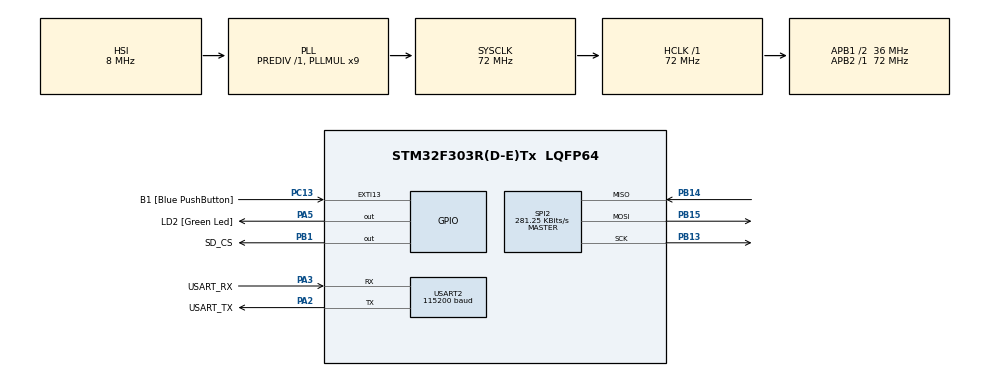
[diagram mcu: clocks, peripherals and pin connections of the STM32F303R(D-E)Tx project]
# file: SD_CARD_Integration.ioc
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Mcu.Family=STM32F3
Mcu.Name=STM32F303R(D-E)Tx
Mcu.Package=LQFP64
NVIC.PriorityGroup=NVIC_PRIORITYGROUP_0
PA13.GPIO_Label=TMS
PA13.Mode=Serial_Wire
PA13.Signal=SYS_JTMS-SWDIO
PA14.GPIO_Label=TCK
PA14.Mode=Serial_Wire
PA14.Signal=SYS_JTCK-SWCLK
PA2.GPIO_Label=USART_TX
PA2.GPIO_Mode=GPIO_MODE_AF_PP
PA2.GPIO_PuPd=GPIO_NOPULL
PA2.GPIO_Speed=GPIO_SPEED_FREQ_LOW
PA2.Mode=Asynchronous
PA2.Signal=USART2_TX
PA3.GPIO_Label=USART_RX
PA3.GPIO_Mode=GPIO_MODE_AF_PP
PA3.GPIO_PuPd=GPIO_NOPULL
PA3.GPIO_Speed=GPIO_SPEED_FREQ_LOW
PA3.Mode=Asynchronous
PA3.Signal=USART2_RX
PA5.GPIO_Label=LD2 [Green Led]
PA5.GPIO_Mode=GPIO_MODE_OUTPUT_PP
PA5.GPIO_PuPd=GPIO_NOPULL
PA5.GPIO_Speed=GPIO_SPEED_FREQ_LOW
PA5.Signal=GPIO_Output
PB1.GPIO_Label=SD_CS
PB1.Signal=GPIO_Output
PB13.Mode=Full_Duplex_Master
PB13.Signal=SPI2_SCK
PB14.Mode=Full_Duplex_Master
PB14.Signal=SPI2_MISO
PB15.Mode=Full_Duplex_Master
PB15.Signal=SPI2_MOSI
PB3.GPIO_Label=SWO
PB3.Signal=SYS_JTDO-TRACESWO
PC13.GPIO_Label=B1 [Blue PushButton]
PC13.GPIO_ModeDefaultEXTI=GPIO_MODE_IT_FALLING
PC13.Signal=GPXTI13
PC14-OSC32_IN.Mode=LSE-External-Oscillator
PC14-OSC32_IN.Signal=RCC_OSC32_IN
PC15-OSC32_OUT.Mode=LSE-External-Oscillator
PC15-OSC32_OUT.Signal=RCC_OSC32_OUT
PF0-OSC_IN.Mode=HSE-External-Clock-Source
PF0-OSC_IN.Signal=RCC_OSC_IN
PF1-OSC_OUT.Signal=RCC_OSC_OUT
ProjectManager.HeapSize=0x200
ProjectManager.StackSize=0x400
ProjectManager.TargetToolchain=STM32CubeIDE
RCC.AHBFreq_Value=72000000
RCC.APB1CLKDivider=RCC_HCLK_DIV2
RCC.APB1Freq_Value=36000000
RCC.APB1TimFreq_Value=72000000
RCC.APB2Freq_Value=72000000
RCC.APB2TimFreq_Value=72000000
RCC.CortexFreq_Value=72000000
RCC.HCLKFreq_Value=72000000
RCC.HSE_VALUE=8000000
RCC.HSI_VALUE=8000000
RCC.PLLM=8
RCC.PLLMUL=RCC_PLL_MUL9
RCC.PLLN=336
RCC.PLLP=RCC_PLLP_DIV4
RCC.PLLQ=7
RCC.RCC_PLLsource_Clock_Source_FROM_HSE=RCC_HSE_PREDIV_DIV2
RCC.SYSCLKFreq_VALUE=72000000
RCC.SYSCLKSourceVirtual=RCC_SYSCLKSOURCE_PLLCLK
RCC.USBFreq_Value=72000000
SPI2.BaudRatePrescaler=SPI_BAUDRATEPRESCALER_128
SPI2.CalculateBaudRate=281.25 KBits/s
SPI2.DataSize=SPI_DATASIZE_8BIT
SPI2.Direction=SPI_DIRECTION_2LINES
SPI2.Mode=SPI_MODE_MASTER
SPI2.VirtualType=VM_MASTER
USART2.BaudRate=115200
USART2.VirtualMode-Asynchronous=VM_ASYNC
VP_FATFS_VS_Generic.Mode=User_defined
board=NUCLEO-F303RE

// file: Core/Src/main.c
/* USER CODE BEGIN Header */
/**
  ******************************************************************************
  * @file           : main.c
  * @brief          : Main program body
  ******************************************************************************
  * @attention
  *
  * Copyright (c) 2025 STMicroelectronics.
  * All rights reserved.
  *
  * This software is licensed under terms that can be found in the LICENSE file
  * in the root directory of this software component.
  * If no LICENSE file comes with this software, it is provided AS-IS.
  *
  ******************************************************************************
  */
/* USER CODE END Header */
#include "main.h"
#include "fatfs.h"

/* USER CODE BEGIN Includes */
#include <stdio.h>
#include <string.h>
#include <stdarg.h>
/* USER CODE END Includes */

SPI_HandleTypeDef hspi2;

UART_HandleTypeDef huart2;

void SystemClock_Config(void);
static void MX_GPIO_Init(void);
static void MX_USART2_UART_Init(void);
static void MX_SPI2_Init(void);
/* USER CODE BEGIN PFP */
void myprintf(const char *fmt, ...);
/* USER CODE END PFP */

/* USER CODE BEGIN 0 */
void myprintf(const char *fmt, ...) {
  static char buffer[256];
  va_list args;
  va_start(args, fmt);
  vsnprintf(buffer, sizeof(buffer), fmt, args);
  va_end(args);

  int len = strlen(buffer);
  HAL_UART_Transmit(&huart2, (uint8_t*)buffer, len, -1);

}
/* USER CODE END 0 */

int main(void)
{

  /* MCU Configuration--------------------------------------------------------*/

  /* Reset of all peripherals, Initializes the Flash interface and the Systick. */
  HAL_Init();

  /* Configure the system clock */
  SystemClock_Config();

  /* Initialize all configured peripherals */
  MX_GPIO_Init();
  MX_USART2_UART_Init();
  MX_SPI2_Init();
  MX_FATFS_Init();
  /* USER CODE BEGIN 2 */
  myprintf("\r\n~ Starting SD Card Test~\r\n\r\n");
    HAL_Delay(1000); //a short delay is important to let the SD card settle

    //some variables for FatFs
    FATFS FatFs; 	//Fatfs handle
    FIL fil; 		//File handle
    FRESULT fres; //Result after operations
    //Open the file system
    myprintf("\r\nInitialising SD CARD\r\n\r\n");
    int init_tries = 0;
    fres = f_mount(&FatFs, "", 1); //1=mount now
    while(fres != FR_OK && init_tries<5){
    	myprintf("Trying Again");
    	init_tries++;
    	fres = f_mount(&FatFs, "", 1); //1=mount now
    }
    if (fres != FR_OK) {
		myprintf("f_mount error (%i)\r\n", fres);
		while(1){
			HAL_GPIO_TogglePin(LD2_GPIO_Port, LD2_Pin);
			HAL_Delay(500);
			HAL_GPIO_TogglePin(LD2_GPIO_Port, LD2_Pin);
			HAL_Delay(100);
		}
    }
    myprintf("\r\nSD CARD Initialised!\r\n\r\n");
    //Ideally would have this turn on an LED that indicates SD connected to properly

    //Let's get some statistics from the SD card
    DWORD free_clusters, free_sectors, total_sectors;

    FATFS* getFreeFs;

    fres = f_getfree("", &free_clusters, &getFreeFs);
    if (fres != FR_OK) {
  	myprintf("f_getfree error (%i)\r\n", fres);
  	while(1);
  		HAL_GPIO_TogglePin(LD2_GPIO_Port, LD2_Pin);
		HAL_Delay(500);
		HAL_GPIO_TogglePin(LD2_GPIO_Port, LD2_Pin);
		HAL_Delay(100);
		HAL_GPIO_TogglePin(LD2_GPIO_Port, LD2_Pin);
		HAL_Delay(100);
    }

    //Formula comes from ChaN's documentation
    total_sectors = (getFreeFs->n_fatent - 2) * getFreeFs->csize;
    free_sectors = free_clusters * getFreeFs->csize;

    myprintf("SD card stats:\r\n%10lu KiB total drive space.\r\n%10lu KiB available.\r\n", total_sectors / 2, free_sectors / 2);

    //Now let's try to open file "test.txt"
    fres = f_open(&fil, "test.txt", FA_READ);
    if (fres != FR_OK) {
		myprintf("f_open error (%i)\r\n");
		myprintf("unable to open file");
    }
    else{
    	myprintf("I was able to open 'test.txt' for reading!\r\n");
    }

    //Read 30 bytes from "test.txt" on the SD card
    BYTE readBuf[30];

    //We can either use f_read OR f_gets to get data out of files
    //f_gets is a wrapper on f_read that does some string formatting for us
    TCHAR* rres = f_gets((TCHAR*)readBuf, 30, &fil);
    if(rres != 0) {
  	myprintf("Read string from 'test.txt' contents: %s\r\n", readBuf);
    } else {
  	myprintf("f_gets error (%i)\r\n", fres);
    }

    f_close(&fil);

    //Now let's try and write a file "write.txt"
    fres = f_open(&fil, "write.txt", FA_WRITE | FA_OPEN_ALWAYS | FA_CREATE_ALWAYS);
    if(fres == FR_OK) {
  	myprintf("I was able to open 'write.txt' for writing\r\n");
    } else {
  	myprintf("f_open error (%i)\r\n", fres);
    }

    //Copy in a string
    strncpy((char*)readBuf, "a new file is made!", 19);
    UINT bytesWrote;
    fres = f_write(&fil, readBuf, 19, &bytesWrote);
    if(fres == FR_OK) {
  	myprintf("Wrote %i bytes to 'write.txt'!\r\n", bytesWrote);
    } else {
  	myprintf("f_write error (%i)\r\n");
    }

    //Be a tidy kiwi - don't forget to close your file!
    f_close(&fil);

    //CSV creation test
	fres = f_open(&fil, "testing.csv", FA_WRITE | FA_OPEN_ALWAYS | FA_CREATE_ALWAYS);
	if(fres == FR_OK) {
	myprintf("I was able to open 'testing.csv' for writing\r\n");
	} else {
	myprintf("f_open error (%i)\r\n", fres);
	}

	BYTE csvBUF[40];
	//Copy in a string
	char* header =  "Time,Message,Value\n";
	char* message;
	fres = f_write(&fil, header, 19, &bytesWrote);
	if(fres == FR_OK) {
	myprintf("Wrote %i bytes to 'testing.csv'!\r\n", bytesWrote);
	} else {
	myprintf("f_write error (%i)\r\n");
	}
	for(int ol = 0; ol<5; ol++){
		for(int l = 0; l<2; l++){
			message = "one,";
			fres = f_write(&fil, message, 4, &bytesWrote);
		}
		message = "two\n";
		fres = f_write(&fil, message, 4, &bytesWrote);
		}
	myprintf("Finished 'testing.csv'!\r\n");

	//Be a tidy kiwi - don't forget to close your file!
	f_close(&fil);

    //We're done, so de-mount the drive
    f_mount(NULL, "", 0);
  /* USER CODE END 2 */

  /* Infinite loop */
  /* USER CODE BEGIN WHILE */
  while (1)
  {
	  HAL_GPIO_TogglePin(LD2_GPIO_Port, LD2_Pin);
	  HAL_Delay(1000);
    /* USER CODE END WHILE */

  }
}

void SystemClock_Config(void)
{
  RCC_OscInitTypeDef RCC_OscInitStruct = {0};
  RCC_ClkInitTypeDef RCC_ClkInitStruct = {0};
  RCC_PeriphCLKInitTypeDef PeriphClkInit = {0};

  /** Initializes the RCC Oscillators according to the specified parameters
  * in the RCC_OscInitTypeDef structure.
  */
  RCC_OscInitStruct.OscillatorType = RCC_OSCILLATORTYPE_HSI;
  RCC_OscInitStruct.HSIState = RCC_HSI_ON;
  RCC_OscInitStruct.HSICalibrationValue = RCC_HSICALIBRATION_DEFAULT;
  RCC_OscInitStruct.PLL.PLLState = RCC_PLL_ON;
  RCC_OscInitStruct.PLL.PLLSource = RCC_PLLSOURCE_HSI;
  RCC_OscInitStruct.PLL.PLLMUL = RCC_PLL_MUL9;
  RCC_OscInitStruct.PLL.PREDIV = RCC_PREDIV_DIV1;
  if (HAL_RCC_OscConfig(&RCC_OscInitStruct) != HAL_OK)
  {
    Error_Handler();
  }

  /** Initializes the CPU, AHB and APB buses clocks
  */
  RCC_ClkInitStruct.ClockType = RCC_CLOCKTYPE_HCLK|RCC_CLOCKTYPE_SYSCLK
                              |RCC_CLOCKTYPE_PCLK1|RCC_CLOCKTYPE_PCLK2;
  RCC_ClkInitStruct.SYSCLKSource = RCC_SYSCLKSOURCE_PLLCLK;
  RCC_ClkInitStruct.AHBCLKDivider = RCC_SYSCLK_DIV1;
  RCC_ClkInitStruct.APB1CLKDivider = RCC_HCLK_DIV2;
  RCC_ClkInitStruct.APB2CLKDivider = RCC_HCLK_DIV1;

  if (HAL_RCC_ClockConfig(&RCC_ClkInitStruct, FLASH_LATENCY_2) != HAL_OK)
  {
    Error_Handler();
  }
  PeriphClkInit.PeriphClockSelection = RCC_PERIPHCLK_USART2;
  PeriphClkInit.Usart2ClockSelection = RCC_USART2CLKSOURCE_PCLK1;
  if (HAL_RCCEx_PeriphCLKConfig(&PeriphClkInit) != HAL_OK)
  {
    Error_Handler();
  }
}

static void MX_SPI2_Init(void)
{

  /* SPI2 parameter configuration*/
  hspi2.Instance = SPI2;
  hspi2.Init.Mode = SPI_MODE_MASTER;
  hspi2.Init.Direction = SPI_DIRECTION_2LINES;
  hspi2.Init.DataSize = SPI_DATASIZE_8BIT;
  hspi2.Init.CLKPolarity = SPI_POLARITY_LOW;
  hspi2.Init.CLKPhase = SPI_PHASE_1EDGE;
  hspi2.Init.NSS = SPI_NSS_SOFT;
  hspi2.Init.BaudRatePrescaler = SPI_BAUDRATEPRESCALER_128;
  hspi2.Init.FirstBit = SPI_FIRSTBIT_MSB;
  hspi2.Init.TIMode = SPI_TIMODE_DISABLE;
  hspi2.Init.CRCCalculation = SPI_CRCCALCULATION_DISABLE;
  hspi2.Init.CRCPolynomial = 7;
  hspi2.Init.CRCLength = SPI_CRC_LENGTH_DATASIZE;
  hspi2.Init.NSSPMode = SPI_NSS_PULSE_ENABLE;
  if (HAL_SPI_Init(&hspi2) != HAL_OK)
  {
    Error_Handler();
  }

}

static void MX_USART2_UART_Init(void)
{

  huart2.Instance = USART2;
  huart2.Init.BaudRate = 115200;
  huart2.Init.WordLength = UART_WORDLENGTH_8B;
  huart2.Init.StopBits = UART_STOPBITS_1;
  huart2.Init.Parity = UART_PARITY_NONE;
  huart2.Init.Mode = UART_MODE_TX_RX;
  huart2.Init.HwFlowCtl = UART_HWCONTROL_NONE;
  huart2.Init.OverSampling = UART_OVERSAMPLING_16;
  huart2.Init.OneBitSampling = UART_ONE_BIT_SAMPLE_DISABLE;
  huart2.AdvancedInit.AdvFeatureInit = UART_ADVFEATURE_NO_INIT;
  if (HAL_UART_Init(&huart2) != HAL_OK)
  {
    Error_Handler();
  }

}

static void MX_GPIO_Init(void)
{
  GPIO_InitTypeDef GPIO_InitStruct = {0};

  /* GPIO Ports Clock Enable */
  __HAL_RCC_GPIOC_CLK_ENABLE();
  __HAL_RCC_GPIOF_CLK_ENABLE();
  __HAL_RCC_GPIOA_CLK_ENABLE();
  __HAL_RCC_GPIOB_CLK_ENABLE();

  /*Configure GPIO pin Output Level */
  HAL_GPIO_WritePin(LD2_GPIO_Port, LD2_Pin, GPIO_PIN_RESET);

  /*Configure GPIO pin Output Level */
  HAL_GPIO_WritePin(SD_CS_GPIO_Port, SD_CS_Pin, GPIO_PIN_RESET);

  /*Configure GPIO pin : B1_Pin */
  GPIO_InitStruct.Pin = B1_Pin;
  GPIO_InitStruct.Mode = GPIO_MODE_IT_FALLING;
  GPIO_InitStruct.Pull = GPIO_NOPULL;
  HAL_GPIO_Init(B1_GPIO_Port, &GPIO_InitStruct);

  /*Configure GPIO pin : LD2_Pin */
  GPIO_InitStruct.Pin = LD2_Pin;
  GPIO_InitStruct.Mode = GPIO_MODE_OUTPUT_PP;
  GPIO_InitStruct.Pull = GPIO_NOPULL;
  GPIO_InitStruct.Speed = GPIO_SPEED_FREQ_LOW;
  HAL_GPIO_Init(LD2_GPIO_Port, &GPIO_InitStruct);

  /*Configure GPIO pin : SD_CS_Pin */
  GPIO_InitStruct.Pin = SD_CS_Pin;
  GPIO_InitStruct.Mode = GPIO_MODE_OUTPUT_PP;
  GPIO_InitStruct.Pull = GPIO_NOPULL;
  GPIO_InitStruct.Speed = GPIO_SPEED_FREQ_LOW;
  HAL_GPIO_Init(SD_CS_GPIO_Port, &GPIO_InitStruct);

}

void Error_Handler(void)
{
  __disable_irq();
  while (1)
  {
  }
}
